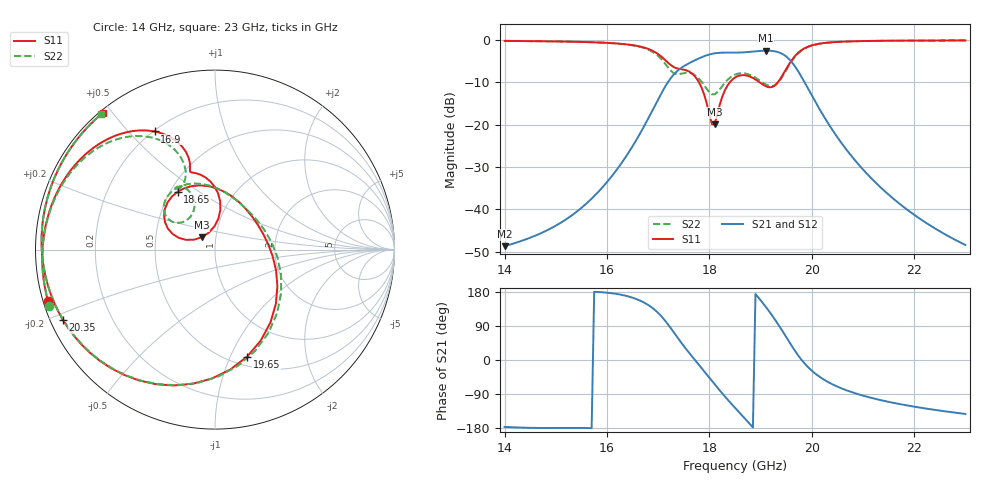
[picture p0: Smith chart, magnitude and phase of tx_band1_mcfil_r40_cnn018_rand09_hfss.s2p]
! Touchstone file exported from HFSS 3D Layout Design 2026.1.0
!  File:  D:/Work/SIM/ADS_AUTO_SIM/projects/RFSOC_RF/TX_Fillter.aedt
!  Generated:  03:44:56 AM Aug 31, 2026
!  Design:  TX_BAND1_MCFIL_R40_CNN018
!  Project:  TX_Fillter
# GHz S MA R 50.000000
! Terminal data exported
! Port[1] = Port1
! Port[2] = Port2
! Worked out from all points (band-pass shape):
!   181 points, 14 GHz to 23 GHz, reference 50 ohm
!   highest |S21| = -2.54 dB at 19.1 GHz (marker M1); lowest = -48.7 dB at 14 GHz (marker M2)
!   |S21| within 3 dB of the highest: 17.6 GHz to 19.63 GHz (2.03 GHz wide, 10.9 % of centre)
!   lowest |S11| = -19.9 dB at 18.1 GHz (marker M3), VSWR 1.22, Z = 42.8 + j5.97 ohm
!   |S11| at or under -10 dB: 17.8 GHz to 18.4 GHz (603.7 MHz wide, 3.34 % of centre); 18.98 GHz to 19.34 GHz (356.4 MHz wide, 1.86 % of centre)
!   |S22| runs from -12.9 to -0.1 dB; largest |S21 - S12| = 3.1e-15
!   S11 on the Smith chart (normalised r, x): 14 GHz: 0.01, -0.15; 16.9 GHz: 0.20, +0.59; 18.65 GHz: 0.54, +0.41; 19.65 GHz: 0.60, -1.16; 20.35 GHz: 0.04, -0.22; 23 GHz: 0.01, +0.47
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14  0.9735 -163.1  0.003665 -176.5  0.003665 -176.5  0.9743 -161.3
15.5  0.9465 166.8  0.01038 -179.3  0.01038 -179.3  0.9476 169.2
16.3  0.8963 143.8  0.03624 171.6  0.03624 171.6  0.8952 146.6
16.9  0.7388 117.0  0.1522 136.0  0.1522 136.0  0.7169 119.4
17  0.6784 111.9  0.1992 124.0  0.1992 124.0  0.6452 114.2
17.2  0.5326 106.0  0.3234 92.4  0.3234 92.4  0.4671 110.4
17.45  0.4507 107.2  0.4673 45.8  0.4673 45.8  0.3994 123.2
17.8  0.3129 86.8  0.6068 -13.5  0.6068 -13.5  0.3462 113.4
18.1  0.1007 136.7  0.694 -63.6  0.694 -63.6  0.2275 134.7
18.3  0.2517 159.8  0.7084 -95.9  0.7084 -95.9  0.3109 146.9
18.5  0.3597 140.8  0.7079 -126.1  0.7079 -126.1  0.3889 135.8
18.65  0.3837 123.0  0.7123 -148.0  0.7123 -148.0  0.404 122.3
18.9  0.3411 88.3  0.7335 174.1  0.7335 174.1  0.3575 94.7
19.1  0.2841 52.5  0.7466 140.6  0.7466 140.6  0.2981 65.4
19.35  0.3233 -6.5  0.7146 92.7  0.7146 92.7  0.3172 7.6
19.5  0.4543 -41.7  0.6373 60.6  0.6373 60.6  0.4389 -32.8
19.65  0.6224 -73.3  0.5076 28.6  0.5076 28.6  0.6075 -68.5
19.8  0.7587 -99.6  0.3652 0.5  0.3652 0.5  0.7483 -97.3
20  0.8626 -126.0  0.2211 -28.2  0.2211 -28.2  0.8574 -125.1
20.35  0.9333 -155.2  0.0967 -60.5  0.0967 -60.5  0.9321 -155.2
21.5  0.9782 159.9  0.01489 -110.4  0.01489 -110.4  0.9784 160.0
23  0.9853 129.4  0.003788 -142.3  0.003788 -142.3  0.9852 130.0
